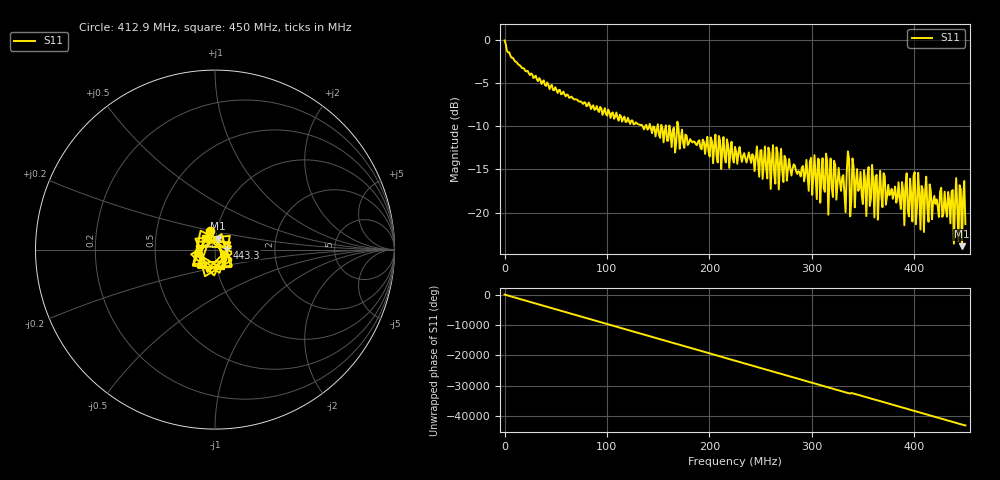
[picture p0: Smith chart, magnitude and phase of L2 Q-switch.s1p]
! NanoVNA-App
! Date: 2026-10-06 10:25:37
! Start: 50kHz Stop: 450MHz Points: 401
! S-Parameter data: F S11
# Hz S RI R 50
!  Frequency  S11_Real  S11_Imag
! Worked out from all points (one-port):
!   401 points, 50 kHz to 450 MHz, reference 50 ohm
!   lowest |S11| = -23.9 dB at 446.6 MHz (marker M1), VSWR 1.14, Z = 51.4 + j6.32 ohm
!   |S11| at or under -10 dB: 142.4 MHz to 149.3 MHz (6.869 MHz wide, 4.71 % of centre); 161 MHz to 168.5 MHz (7.489 MHz wide, 4.54 % of centre); 169.6 MHz to end of sweep (the widest 3 of 8)
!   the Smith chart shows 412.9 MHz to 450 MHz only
!   S11 on the Smith chart (normalised r, x): 412.9 MHz: 0.93, +0.19; 443.3 MHz: 1.15, +0.02; 450 MHz: 0.89, +0.12
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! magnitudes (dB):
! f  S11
! 50 kHz  0.0
! 56.29 MHz  -6.2
! 112.5 MHz  -8.7
! 168.8 MHz  -9.5
! 225 MHz  -12.4
! 281.3 MHz  -14.9
! 308.3 MHz  -18.9
! 310.5 MHz  -13.7
! 312.8 MHz  -17.6
! 318.4 MHz  -13.7
! 320.6 MHz  -18.2
! 330.8 MHz  -15.7
! 337.5 MHz  -20.4
! 351 MHz  -15.1
! 353.3 MHz  -20.4
! 366.8 MHz  -15.2
! 369 MHz  -19.4
! 393.8 MHz  -19.7
! 396 MHz  -16.1
! 398.3 MHz  -21.0
! 403.9 MHz  -15.4
! 412.9 MHz  -19.5
! 438.8 MHz  -23.6
! 441 MHz  -16.0
! 443.3 MHz  -23.3
! 444.4 MHz  -16.8
! 446.6 MHz  -23.9
! 450 MHz  -21.3
